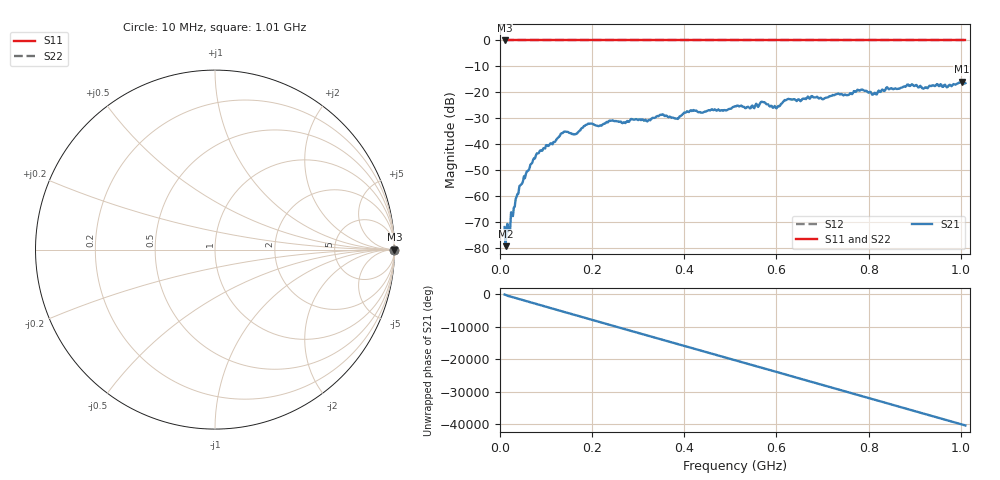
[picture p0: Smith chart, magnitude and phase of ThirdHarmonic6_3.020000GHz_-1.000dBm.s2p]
! 8/17/2025 8:41:23 AM
! C:\ANRITSUVNA\TEMP\TEMP.S2P
! CHANNEL.1
! TR.MEASUREMENT
! RAW.DATA
! RF.CORRECTION.OFF
! AVERAGING.OFF
! IF.BANDWIDTH: 5KHZ
! SWEEPTYPE:  FREQ.SWEEP(Linear)
! Reference Plane Port Info
! PORT:  PORT1  PORT2
! DISTANCE:  0  m  0  m
! TIME:  0  s  0  s
! PHASE.OFFSET:  0  deg.  0  deg.
! LOSS:  0  dB  0  dB
! REF.LOSS:  0  dB  0  dB
! REF.FREQ:  0  Hz  0  Hz
! Power Info
! POWER:  -20  dBm  -20  dBm
! EFF.POWER:  -20  dBm  -20  dBm
! SOURCE.ATTEN:  0  dB  0  dB
! TEST.ATTEN:  0  dB  0  dB
# GHZ S RI R 50.0
! FREQ.GHZ  S11RE  S11IM  S21RE  S21IM  S12RE  S12IM  S22RE  S22IM
!; PortSelection: Port_12
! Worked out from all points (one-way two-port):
!   501 points, 10 MHz to 1.01 GHz, reference 50 ohm
!   highest |S21| = -15.90 dB at 1.002 GHz (marker M1); lowest = -79.1 dB at 12 MHz (marker M2)
!   lowest |S11| = 0.0 dB at 10 MHz (marker M3)
!   |S11| at or under -10 dB: nowhere
!   |S22| runs from 0.0 to 0.0 dB; largest |S21 - S12| = 1.1
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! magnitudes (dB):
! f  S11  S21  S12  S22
! 10 MHz  0.0  -71.8  0.0  0.0
! 12 MHz  0.0  -79.1  0.0  0.0
! 16 MHz  0.0  -70.5  0.0  0.0
! 46 MHz  0.0  -55.4  0.0  0.0
! 78 MHz  0.0  -44.2  0.0  0.0
! 136 MHz  0.0  -35.6  0.0  0.0
! 164 MHz  0.0  -36.0  0.0  0.0
! 178 MHz  0.0  -33.7  0.0  0.0
! 344 MHz  0.0  -29.1  0.0  0.0
! 384 MHz  0.0  -30.1  0.0  0.0
! 416 MHz  0.0  -27.1  0.0  0.0
! 510 MHz  0.0  -25.3  0.0  0.0
! 548 MHz  0.0  -25.1  0.0  0.0
! 570 MHz  0.0  -23.7  0.0  0.0
! 596 MHz  0.0  -25.2  0.0  0.0
! 622 MHz  0.0  -22.8  0.0  0.0
! 678 MHz  0.0  -21.5  0.0  0.0
! 780 MHz  0.0  -19.3  0.0  0.0
! 814 MHz  0.0  -20.2  0.0  0.0
! 844 MHz  0.0  -18.8  0.0  0.0
! 1.002 GHz  0.0  -15.9  0.0  0.0
! 1.01 GHz  0.0  -16.4  0.0  0.0
